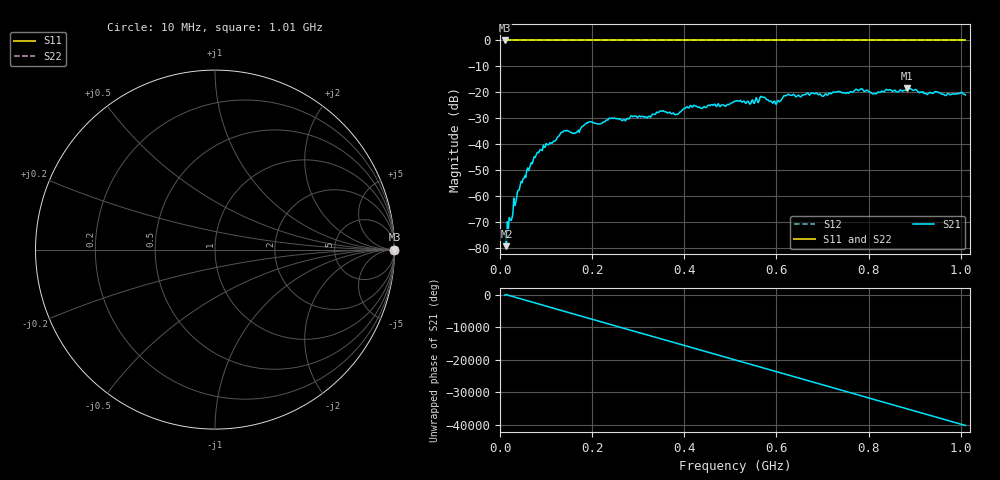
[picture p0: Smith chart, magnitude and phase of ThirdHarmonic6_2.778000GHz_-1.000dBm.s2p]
! 8/17/2025 7:06:38 AM
! C:\ANRITSUVNA\TEMP\TEMP.S2P
! CHANNEL.1
! TR.MEASUREMENT
! RAW.DATA
! RF.CORRECTION.OFF
! AVERAGING.OFF
! IF.BANDWIDTH: 5KHZ
! SWEEPTYPE:  FREQ.SWEEP(Linear)
! Reference Plane Port Info
! PORT:  PORT1  PORT2
! DISTANCE:  0  m  0  m
! TIME:  0  s  0  s
! PHASE.OFFSET:  0  deg.  0  deg.
! LOSS:  0  dB  0  dB
! REF.LOSS:  0  dB  0  dB
! REF.FREQ:  0  Hz  0  Hz
! Power Info
! POWER:  -20  dBm  -20  dBm
! EFF.POWER:  -20  dBm  -20  dBm
! SOURCE.ATTEN:  0  dB  0  dB
! TEST.ATTEN:  0  dB  0  dB
# GHZ S RI R 50.0
! FREQ.GHZ  S11RE  S11IM  S21RE  S21IM  S12RE  S12IM  S22RE  S22IM
!; PortSelection: Port_12
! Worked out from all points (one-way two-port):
!   501 points, 10 MHz to 1.01 GHz, reference 50 ohm
!   highest |S21| = -18.38 dB at 884 MHz (marker M1); lowest = -79.2 dB at 14 MHz (marker M2)
!   lowest |S11| = 0.0 dB at 10 MHz (marker M3)
!   |S11| at or under -10 dB: nowhere
!   |S22| runs from 0.0 to 0.0 dB; largest |S21 - S12| = 1.1
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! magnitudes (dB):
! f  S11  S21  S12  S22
! 10 MHz  0.0  -75.1  0.0  0.0
! 14 MHz  0.0  -79.2  0.0  0.0
! 42 MHz  0.0  -57.4  0.0  0.0
! 78 MHz  0.0  -44.3  0.0  0.0
! 136 MHz  0.0  -35.3  0.0  0.0
! 162 MHz  0.0  -35.7  0.0  0.0
! 178 MHz  0.0  -33.1  0.0  0.0
! 194 MHz  0.0  -31.3  0.0  0.0
! 322 MHz  0.0  -29.1  0.0  0.0
! 344 MHz  0.0  -27.7  0.0  0.0
! 384 MHz  0.0  -28.4  0.0  0.0
! 410 MHz  0.0  -26.0  0.0  0.0
! 510 MHz  0.0  -23.4  0.0  0.0
! 548 MHz  0.0  -22.8  0.0  0.0
! 570 MHz  0.0  -21.9  0.0  0.0
! 596 MHz  0.0  -23.3  0.0  0.0
! 622 MHz  0.0  -21.2  0.0  0.0
! 678 MHz  0.0  -20.2  0.0  0.0
! 812 MHz  0.0  -20.4  0.0  0.0
! 844 MHz  0.0  -19.1  0.0  0.0
! 884 MHz  0.0  -18.4  0.0  0.0
! 1.01 GHz  0.0  -21.0  0.0  0.0
